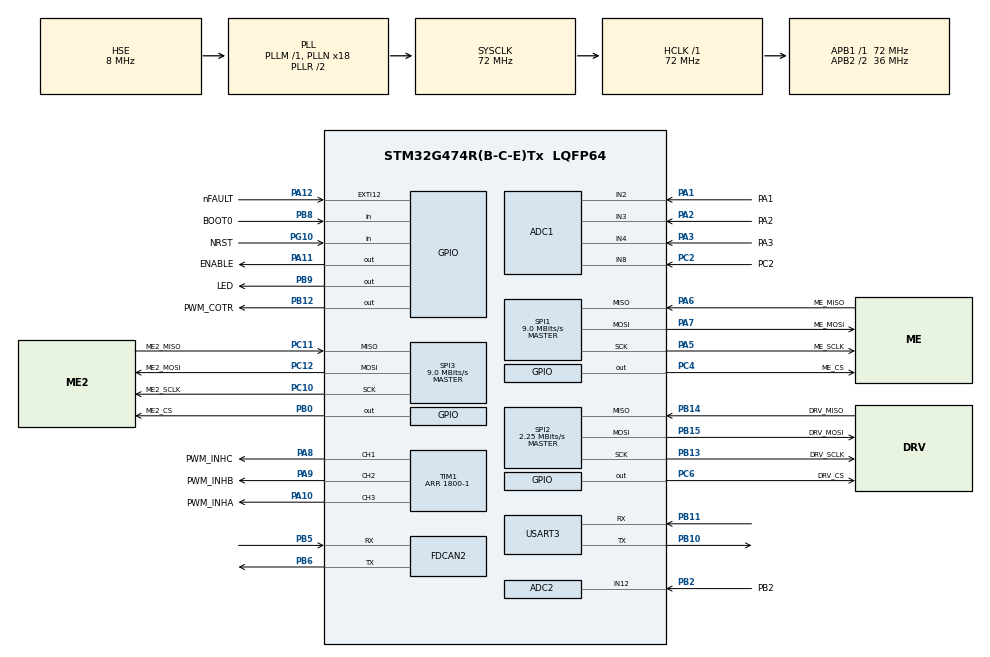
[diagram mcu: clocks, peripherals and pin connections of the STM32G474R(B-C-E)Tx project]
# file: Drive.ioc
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ADC1.Channel-7\#ChannelRegularConversion=ADC_CHANNEL_4
ADC1.Channel-8\#ChannelRegularConversion=ADC_CHANNEL_8
ADC1.ContinuousConvMode=DISABLE
ADC1.DMAContinuousRequests=ENABLE
ADC1.EnableInjectedConversion=ENABLE
ADC1.EnableRegularConversion=ENABLE
ADC1.ExternalTrigConv=ADC_EXTERNALTRIG_T1_TRGO
ADC1.ExternalTrigInjecConv=ADC_EXTERNALTRIGINJEC_T1_CC4
ADC1.InjNumberOfConversion=2
ADC1.InjectedChannel-13\#ChannelInjectedConversion=ADC_CHANNEL_2
ADC1.InjectedChannel-14\#ChannelInjectedConversion=ADC_CHANNEL_3
ADC1.InjectedOffsetNumber-13\#ChannelInjectedConversion=ADC_OFFSET_NONE
ADC1.InjectedOffsetNumber-14\#ChannelInjectedConversion=ADC_OFFSET_NONE
ADC1.InjectedRank-13\#ChannelInjectedConversion=1
ADC1.InjectedRank-14\#ChannelInjectedConversion=2
ADC1.InjectedSamplingTime-13\#ChannelInjectedConversion=ADC_SAMPLETIME_24CYCLES_5
ADC1.InjectedSamplingTime-14\#ChannelInjectedConversion=ADC_SAMPLETIME_24CYCLES_5
ADC1.Mode=ADC_MODE_INDEPENDENT
ADC1.NbrOfConversion=2
ADC1.NbrOfConversionFlag=1
ADC1.OffsetNumber-7\#ChannelRegularConversion=ADC_OFFSET_NONE
ADC1.OffsetNumber-8\#ChannelRegularConversion=ADC_OFFSET_NONE
ADC1.Overrun=ADC_OVR_DATA_OVERWRITTEN
ADC1.OversamplingMode=DISABLE
ADC1.Rank-7\#ChannelRegularConversion=1
ADC1.Rank-8\#ChannelRegularConversion=2
ADC1.Rank1_Channel=ADC_CHANNEL_2
ADC1.Rank2_Channel=ADC_CHANNEL_3
ADC1.SamplingTime-7\#ChannelRegularConversion=ADC_SAMPLETIME_24CYCLES_5
ADC1.SamplingTime-8\#ChannelRegularConversion=ADC_SAMPLETIME_247CYCLES_5
ADC1.master=1
ADC2.Channel-0\#ChannelRegularConversion=ADC_CHANNEL_12
ADC2.DMAContinuousRequests=ENABLE
ADC2.ExternalTrigConv=ADC_EXTERNALTRIG_T1_TRGO
ADC2.ExternalTrigConvEdge=ADC_EXTERNALTRIGCONVEDGE_RISING
ADC2.NbrOfConversion=1
ADC2.NbrOfConversionFlag=1
ADC2.OffsetNumber-0\#ChannelRegularConversion=ADC_OFFSET_NONE
ADC2.Overrun=ADC_OVR_DATA_OVERWRITTEN
ADC2.OversamplingMode=DISABLE
ADC2.Rank-0\#ChannelRegularConversion=1
ADC2.SamplingTime-0\#ChannelRegularConversion=ADC_SAMPLETIME_24CYCLES_5
Dma.ADC1.0.Direction=DMA_PERIPH_TO_MEMORY
Dma.ADC1.0.EventEnable=DISABLE
Dma.ADC1.0.Instance=DMA1_Channel1
Dma.ADC1.0.MemDataAlignment=DMA_MDATAALIGN_HALFWORD
Dma.ADC1.0.MemInc=DMA_MINC_ENABLE
Dma.ADC1.0.Mode=DMA_CIRCULAR
Dma.ADC1.0.PeriphDataAlignment=DMA_PDATAALIGN_HALFWORD
Dma.ADC1.0.PeriphInc=DMA_PINC_DISABLE
Dma.ADC1.0.Polarity=HAL_DMAMUX_REQ_GEN_RISING
Dma.ADC1.0.Priority=DMA_PRIORITY_LOW
Dma.ADC1.0.RequestNumber=1
Dma.ADC1.0.SignalID=NONE
Dma.ADC1.0.SyncEnable=DISABLE
Dma.ADC1.0.SyncPolarity=HAL_DMAMUX_SYNC_NO_EVENT
Dma.ADC1.0.SyncRequestNumber=1
Dma.ADC1.0.SyncSignalID=NONE
Dma.ADC2.1.Direction=DMA_PERIPH_TO_MEMORY
Dma.ADC2.1.EventEnable=DISABLE
Dma.ADC2.1.Instance=DMA1_Channel2
Dma.ADC2.1.MemDataAlignment=DMA_MDATAALIGN_HALFWORD
Dma.ADC2.1.MemInc=DMA_MINC_ENABLE
Dma.ADC2.1.Mode=DMA_CIRCULAR
Dma.ADC2.1.PeriphDataAlignment=DMA_PDATAALIGN_HALFWORD
Dma.ADC2.1.PeriphInc=DMA_PINC_DISABLE
Dma.ADC2.1.Polarity=HAL_DMAMUX_REQ_GEN_RISING
Dma.ADC2.1.Priority=DMA_PRIORITY_LOW
Dma.ADC2.1.RequestNumber=1
Dma.ADC2.1.SignalID=NONE
Dma.ADC2.1.SyncEnable=DISABLE
Dma.ADC2.1.SyncPolarity=HAL_DMAMUX_SYNC_NO_EVENT
Dma.ADC2.1.SyncRequestNumber=1
Dma.ADC2.1.SyncSignalID=NONE
Dma.Request0=ADC1
Dma.Request1=ADC2
Dma.Request2=USART3_TX
Dma.Request3=USART3_RX
Dma.USART3_RX.3.Direction=DMA_PERIPH_TO_MEMORY
Dma.USART3_RX.3.EventEnable=DISABLE
Dma.USART3_RX.3.Instance=DMA1_Channel4
Dma.USART3_RX.3.MemDataAlignment=DMA_MDATAALIGN_BYTE
Dma.USART3_RX.3.MemInc=DMA_MINC_ENABLE
Dma.USART3_RX.3.Mode=DMA_CIRCULAR
Dma.USART3_RX.3.PeriphDataAlignment=DMA_PDATAALIGN_BYTE
Dma.USART3_RX.3.PeriphInc=DMA_PINC_DISABLE
Dma.USART3_RX.3.Polarity=HAL_DMAMUX_REQ_GEN_RISING
Dma.USART3_RX.3.Priority=DMA_PRIORITY_LOW
Dma.USART3_RX.3.RequestNumber=1
Dma.USART3_RX.3.SignalID=NONE
Dma.USART3_RX.3.SyncEnable=DISABLE
Dma.USART3_RX.3.SyncPolarity=HAL_DMAMUX_SYNC_NO_EVENT
Dma.USART3_RX.3.SyncRequestNumber=1
Dma.USART3_RX.3.SyncSignalID=NONE
Dma.USART3_TX.2.Direction=DMA_MEMORY_TO_PERIPH
Dma.USART3_TX.2.EventEnable=DISABLE
Dma.USART3_TX.2.Instance=DMA1_Channel3
Dma.USART3_TX.2.MemDataAlignment=DMA_MDATAALIGN_BYTE
Dma.USART3_TX.2.MemInc=DMA_MINC_ENABLE
Dma.USART3_TX.2.Mode=DMA_NORMAL
Dma.USART3_TX.2.PeriphDataAlignment=DMA_PDATAALIGN_BYTE
Dma.USART3_TX.2.PeriphInc=DMA_PINC_DISABLE
Dma.USART3_TX.2.Polarity=HAL_DMAMUX_REQ_GEN_RISING
Dma.USART3_TX.2.Priority=DMA_PRIORITY_LOW
Dma.USART3_TX.2.RequestNumber=1
Dma.USART3_TX.2.SignalID=NONE
Dma.USART3_TX.2.SyncEnable=DISABLE
Dma.USART3_TX.2.SyncPolarity=HAL_DMAMUX_SYNC_NO_EVENT
Dma.USART3_TX.2.SyncRequestNumber=1
Dma.USART3_TX.2.SyncSignalID=NONE
FDCAN2.CalculateBaudRateNominal=1000000
FDCAN2.CalculateTimeBitNominal=1000
FDCAN2.CalculateTimeQuantumNominal=125.0
FDCAN2.NominalPrescaler=9
FDCAN2.NominalTimeSeg1=5
FDCAN2.NominalTimeSeg2=2
FDCAN2.StdFiltersNbr=1
IWDG.Prescaler=IWDG_PRESCALER_256
IWDG.Reload=125
IWDG.Window=4095
Mcu.Family=STM32G4
Mcu.Name=STM32G474R(B-C-E)Tx
Mcu.Package=LQFP64
NVIC.DMA1_Channel1_IRQn=true\:3\:0\:true\:false\:true\:false\:true\:true
NVIC.DMA1_Channel2_IRQn=true\:3\:0\:true\:false\:true\:false\:true\:true
NVIC.DMA1_Channel3_IRQn=true\:3\:0\:true\:false\:true\:false\:true\:true
NVIC.DMA1_Channel4_IRQn=true\:3\:0\:true\:false\:true\:false\:true\:true
NVIC.EXTI15_10_IRQn=true\:0\:0\:true\:false\:true\:true\:true\:true
NVIC.FDCAN2_IT0_IRQn=true\:3\:0\:true\:false\:true\:true\:true\:true
NVIC.FDCAN2_IT1_IRQn=true\:3\:0\:true\:false\:true\:true\:true\:true
NVIC.PriorityGroup=NVIC_PRIORITYGROUP_4
NVIC.TIM1_UP_TIM16_IRQn=true\:1\:0\:true\:false\:true\:true\:true\:true
NVIC.USART3_IRQn=true\:3\:0\:true\:false\:true\:true\:true\:true
PA1.GPIO_Label=PA1
PA1.Mode=IN2-Single-Ended
PA1.Signal=ADC1_IN2
PA10.GPIO_Label=PWM_INHA
PA10.Signal=S_TIM1_CH3
PA11.GPIO_Label=ENABLE
PA11.Signal=GPIO_Output
PA12.GPIO_Label=nFAULT
PA12.GPIO_ModeDefaultEXTI=GPIO_MODE_IT_FALLING
PA12.Signal=GPXTI12
PA13.Mode=Serial_Wire
PA13.Signal=SYS_JTMS-SWDIO
PA14.Mode=Serial_Wire
PA14.Signal=SYS_JTCK-SWCLK
PA2.GPIO_Label=PA2
PA2.Mode=IN3-Single-Ended
PA2.Signal=ADC1_IN3
PA3.GPIO_Label=PA3
PA3.Mode=IN4-Single-Ended
PA3.Signal=ADC1_IN4
PA5.GPIO_Label=ME_SCLK
PA5.GPIO_Speed=GPIO_SPEED_FREQ_VERY_HIGH
PA5.Mode=Full_Duplex_Master
PA5.Signal=SPI1_SCK
PA6.GPIO_Label=ME_MISO
PA6.GPIO_Speed=GPIO_SPEED_FREQ_VERY_HIGH
PA6.Mode=Full_Duplex_Master
PA6.Signal=SPI1_MISO
PA7.GPIO_Label=ME_MOSI
PA7.GPIO_Speed=GPIO_SPEED_FREQ_VERY_HIGH
PA7.Mode=Full_Duplex_Master
PA7.Signal=SPI1_MOSI
PA8.GPIO_Label=PWM_INHC
PA8.Signal=S_TIM1_CH1
PA9.GPIO_Label=PWM_INHB
PA9.Signal=S_TIM1_CH2
PB0.GPIO_Label=ME2_CS
PB0.GPIO_Speed=GPIO_SPEED_FREQ_VERY_HIGH
PB0.PinState=GPIO_PIN_SET
PB0.Signal=GPIO_Output
PB10.Mode=Asynchronous
PB10.Signal=USART3_TX
PB11.GPIO_PuPd=GPIO_PULLUP
PB11.Mode=Asynchronous
PB11.Signal=USART3_RX
PB12.GPIO_Label=PWM_COTR
PB12.Signal=GPIO_Output
PB13.GPIO_Label=DRV_SCLK
PB13.GPIO_Speed=GPIO_SPEED_FREQ_VERY_HIGH
PB13.Mode=Full_Duplex_Master
PB13.Signal=SPI2_SCK
PB14.GPIO_Label=DRV_MISO
PB14.GPIO_Speed=GPIO_SPEED_FREQ_VERY_HIGH
PB14.Mode=Full_Duplex_Master
PB14.Signal=SPI2_MISO
PB15.GPIO_Label=DRV_MOSI
PB15.GPIO_Speed=GPIO_SPEED_FREQ_VERY_HIGH
PB15.Mode=Full_Duplex_Master
PB15.Signal=SPI2_MOSI
PB2.GPIO_Label=PB2
PB2.Mode=IN12-Single-Ended
PB2.Signal=ADC2_IN12
PB5.GPIO_Speed=GPIO_SPEED_FREQ_HIGH
PB5.Mode=FDCAN_Activate
PB5.Signal=FDCAN2_RX
PB6.GPIO_Speed=GPIO_SPEED_FREQ_HIGH
PB6.Mode=FDCAN_Activate
PB6.Signal=FDCAN2_TX
PB8-BOOT0.GPIO_Label=BOOT0
PB8-BOOT0.Signal=GPIO_Input
PB9.GPIO_Label=LED
PB9.Signal=GPIO_Output
PC10.GPIO_Label=ME2_SCLK
PC10.GPIO_Speed=GPIO_SPEED_FREQ_VERY_HIGH
PC10.Mode=Full_Duplex_Master
PC10.Signal=SPI3_SCK
PC11.GPIO_Label=ME2_MISO
PC11.GPIO_Speed=GPIO_SPEED_FREQ_VERY_HIGH
PC11.Mode=Full_Duplex_Master
PC11.Signal=SPI3_MISO
PC12.GPIO_Label=ME2_MOSI
PC12.GPIO_Speed=GPIO_SPEED_FREQ_VERY_HIGH
PC12.Mode=Full_Duplex_Master
PC12.Signal=SPI3_MOSI
PC2.GPIO_Label=PC2
PC2.Mode=IN8-Single-Ended
PC2.Signal=ADC1_IN8
PC4.GPIO_Label=ME_CS
PC4.GPIO_Speed=GPIO_SPEED_FREQ_VERY_HIGH
PC4.PinState=GPIO_PIN_SET
PC4.Signal=GPIO_Output
PC6.GPIO_Label=DRV_CS
PC6.GPIO_Speed=GPIO_SPEED_FREQ_VERY_HIGH
PC6.PinState=GPIO_PIN_SET
PC6.Signal=GPIO_Output
PF0-OSC_IN.Mode=HSE-External-Oscillator
PF0-OSC_IN.Signal=RCC_OSC_IN
PF1-OSC_OUT.Mode=HSE-External-Oscillator
PF1-OSC_OUT.Signal=RCC_OSC_OUT
PG10-NRST.GPIO_Label=NRST
PG10-NRST.Signal=GPIO_Input
ProjectManager.HeapSize=0x200
ProjectManager.StackSize=0x400
ProjectManager.TargetToolchain=MDK-ARM V5.32
RCC.ADC12Freq_Value=72000000
RCC.ADC345Freq_Value=72000000
RCC.AHBFreq_Value=72000000
RCC.APB1Freq_Value=72000000
RCC.APB1TimFreq_Value=72000000
RCC.APB2CLKDivider=RCC_HCLK_DIV2
RCC.APB2Freq_Value=36000000
RCC.APB2TimFreq_Value=72000000
RCC.CortexFreq_Value=72000000
RCC.EXTERNAL_CLOCK_VALUE=12288000
RCC.HCLKFreq_Value=72000000
RCC.HSE_VALUE=8000000
RCC.HSI48_VALUE=48000000
RCC.HSI_VALUE=16000000
RCC.LSE_VALUE=32768
RCC.PLLN=18
RCC.PLLSourceVirtual=RCC_PLLSOURCE_HSE
RCC.SYSCLKFreq_VALUE=72000000
RCC.SYSCLKSource=RCC_SYSCLKSOURCE_PLLCLK
RCC.USBFreq_Value=72000000
RCC.VCOOutputFreq_Value=144000000
SH.S_TIM1_CH1.0=TIM1_CH1,PWM Generation1 CH1
SH.S_TIM1_CH2.0=TIM1_CH2,PWM Generation2 CH2
SH.S_TIM1_CH3.0=TIM1_CH3,PWM Generation3 CH3
SPI1.BaudRatePrescaler=SPI_BAUDRATEPRESCALER_4
SPI1.CLKPhase=SPI_PHASE_2EDGE
SPI1.CLKPolarity=SPI_POLARITY_HIGH
SPI1.CalculateBaudRate=9.0 MBits/s
SPI1.DataSize=SPI_DATASIZE_16BIT
SPI1.Direction=SPI_DIRECTION_2LINES
SPI1.Mode=SPI_MODE_MASTER
SPI1.VirtualType=VM_MASTER
SPI2.BaudRatePrescaler=SPI_BAUDRATEPRESCALER_32
SPI2.CLKPhase=SPI_PHASE_2EDGE
SPI2.CLKPolarity=SPI_POLARITY_LOW
SPI2.CalculateBaudRate=2.25 MBits/s
SPI2.DataSize=SPI_DATASIZE_16BIT
SPI2.Direction=SPI_DIRECTION_2LINES
SPI2.Mode=SPI_MODE_MASTER
SPI2.VirtualType=VM_MASTER
SPI3.BaudRatePrescaler=SPI_BAUDRATEPRESCALER_8
SPI3.CLKPhase=SPI_PHASE_2EDGE
SPI3.CLKPolarity=SPI_POLARITY_HIGH
SPI3.CalculateBaudRate=9.0 MBits/s
SPI3.DataSize=SPI_DATASIZE_16BIT
SPI3.Direction=SPI_DIRECTION_2LINES
SPI3.Mode=SPI_MODE_MASTER
SPI3.VirtualType=VM_MASTER
STMicroelectronics.X-CUBE-ALGOBUILD.1.4.0.LibraryCcDSPOoLibraryJjDSPOoLibrary=true
TIM1.Channel-PWM\ Generation1\ CH1=TIM_CHANNEL_1
TIM1.Channel-PWM\ Generation2\ CH2=TIM_CHANNEL_2
TIM1.Channel-PWM\ Generation3\ CH3=TIM_CHANNEL_3
TIM1.Channel-PWM\ Generation4\ No\ Output=TIM_CHANNEL_4
TIM1.CounterMode=TIM_COUNTERMODE_CENTERALIGNED1
TIM1.PeriodNoDither=1800-1
TIM1.PulseNoDither_1=900
TIM1.PulseNoDither_2=900
TIM1.PulseNoDither_3=900
TIM1.PulseNoDither_4=288
TIM1.RepetitionCounter=1
TIM1.TIM_MasterOutputTrigger=TIM_TRGO_UPDATE
USART3.VirtualMode-Asynchronous=VM_ASYNC
VP_IWDG_VS_IWDG.Mode=IWDG_Activate
VP_STMicroelectronics.X-CUBE-ALGOBUILD_VS_DSPOoLibraryJjLibrary_1.4.0_1.4.0.Mode=DSPOoLibraryJjLibrary
VP_SYS_VS_DBSignals.Mode=DisableDeadBatterySignals
VP_TIM1_VS_ClockSourceINT.Mode=Internal
VP_TIM1_VS_no_output4.Mode=PWM Generation4 No Output
board=custom

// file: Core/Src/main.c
/* USER CODE BEGIN Header */
/**
  ******************************************************************************
  * @file           : main.c
  * @brief          : Main program body
  ******************************************************************************
  * @attention
  *
  * Copyright (c) 2026 STMicroelectronics.
  * All rights reserved.
  *
  * This software is licensed under terms that can be found in the LICENSE file
  * in the root directory of this software component.
  * If no LICENSE file comes with this software, it is provided AS-IS.
  *
  ******************************************************************************
  */
/* USER CODE END Header */
#include "main.h"
#include "adc.h"
#include "dma.h"
#include "fdcan.h"
#include "iwdg.h"
#include "spi.h"
#include "tim.h"
#include "usart.h"
#include "gpio.h"

/* USER CODE BEGIN Includes */
#include "motor_control.h"
#include "foc.h"
#include "drv8353.h"
#include "fdcan_app.h"
#include "uart_cmd.h"
#include "dwt_delay.h"
#include "kth7823.h"
#include "kth7823_2.h"
#include "dbg_monitor.h"
#include "protect.h"

/* USER CODE END Includes */

/* USER CODE BEGIN PD */

volatile uint8_t fault_triggered = 0;							// 驱动故障标志
volatile uint8_t  fault_status_valid = 0;					// 1=上面STATUS1/2是本次 nFAULT 读到的；0=本次没读到，值不可信
volatile uint8_t  fault_code = FAULT_CODE_NONE;		// 故障期间保持，离开 FAULT 态时由 FOC_SetMode 清零
volatile uint16_t fault_mask = 0;									// 本次故障事件内触发过的所有保护位（bit=FAULT_CODE_n），与 fault_code 同步清零
volatile uint16_t fault_status1 = 0;							// 硬件故障 STATUS1 锁存（Disable 前读取）
volatile uint16_t fault_status2 = 0;							// 硬件故障 STATUS2 锁存

/* USER CODE END PD */

void SystemClock_Config(void);
/* USER CODE BEGIN PFP */

// 驱动故障回调函数
void HAL_GPIO_EXTI_Callback(uint16_t GPIO_Pin)
{
    if (GPIO_Pin != GPIO_PIN_12) return;  // 处理 DRV8353 nFault 引脚

    fault_code = FAULT_CODE_HARDWARE;
		Protect_StopPWM();

    if(hspi2.State == HAL_SPI_STATE_READY) {
			// 先锁存硬件故障详情（此时 EN 尚未拉低、SPI 可用，读到的才是真实故障位）
			fault_status1 = DRV8353_ReadReg(DRV8353_REG_STATUS1);
			fault_status2 = DRV8353_ReadReg(DRV8353_REG_STATUS2);
			fault_status_valid = 1;
		} else {
      fault_status_valid = 0;
    }

    DRV8353_Disable();
    fault_triggered = 1;
}

/* USER CODE END PFP */

int main(void)
{

  /* MCU Configuration--------------------------------------------------------*/

  /* Reset of all peripherals, Initializes the Flash interface and the Systick. */
  HAL_Init();

  /* Configure the system clock */
  SystemClock_Config();

  /* USER CODE BEGIN SysInit */
  DWT_Init();   // 使能内核 DWT Cycle 计数器

  /* USER CODE END SysInit */

  /* Initialize all configured peripherals */
  MX_GPIO_Init();
  MX_DMA_Init();
  MX_TIM1_Init();
  MX_ADC1_Init();
  MX_FDCAN2_Init();
  MX_SPI1_Init();
  MX_SPI2_Init();
  MX_SPI3_Init();
  MX_USART3_UART_Init();
  MX_ADC2_Init();
  MX_IWDG_Init();
  /* USER CODE BEGIN 2 */

	FDCAN_App_Init();
	UART_Cmd_Init();
	MotorControl_Init();
	MotorControl_BootSequence();   // 上电自动执行启动序列

  /* USER CODE END 2 */

  /* Infinite loop */
  /* USER CODE BEGIN WHILE */
	FOC_SetOpenLoopVoltage(0.0f);  // 开环初始电压 0V（速度默认 0，上电不转）

  while (1)
  {

    /* USER CODE END WHILE */

    /* USER CODE BEGIN 3 */

		// 故障恢复
		FOC_FaultRecoverProcess();

		// 调试监控快照：集中刷新关键运行变量到 dbg，供 KEIL Watch 观察
//		DBG_Monitor_Update();

		// 温度更新
		TempSense_Update();

		// 处理 CAN 消息（多节点：只处理发给本节点 NODE_ID 的帧，过滤器已按 ID 区分）
    FDCAN_App_Process();

		// can工作时屏蔽串口
		if (!Protect_CommIsArmed()){

			// 硬件配置自检结果串口上报
			UART_ReportAlignResult();

			// log=1实时状态串口上报
			UART_SendStatus();

			// 故障信息串口上报
			UART_FaultReport();

			// 处理串口命令
			UART_Cmd_Process();

			// 自动停止：v= 设为非0 后 3 秒自动把电压归零（测试保护，防忘记停机过热）
			UART_Cmd_AutoStop();

		}else {
			UART_Cmd_Discard();      // 丢弃屏蔽期间累积的串口输入，防解除后执行陈旧命令
		}

		// 非阻塞发送兜底：发送链路异常（HAL 启动失败/出错）时恢复，正常无开销
		UART_Tx_Poll();

		// 编码器刷新，主循环做滤波角度（sin/cos + atan2，约 7µs，按 1kHz 跑）
		kth7823_SlowUpdate();
		kth7823_2_SlowUpdate();   // 输出轴编码器单圈滤波角度
		DWT_DelayMs(1);          // 定 1ms 节拍

		// 喂独立看门狗：主循环 1ms 周期喂狗，远小于 1s 超时
		HAL_IWDG_Refresh(&hiwdg);

	}

  /* USER CODE END 3 */
}

void SystemClock_Config(void)
{
  RCC_OscInitTypeDef RCC_OscInitStruct = {0};
  RCC_ClkInitTypeDef RCC_ClkInitStruct = {0};

  /** Configure the main internal regulator output voltage
  */
  HAL_PWREx_ControlVoltageScaling(PWR_REGULATOR_VOLTAGE_SCALE1);

  /** Initializes the RCC Oscillators according to the specified parameters
  * in the RCC_OscInitTypeDef structure.
  */
  RCC_OscInitStruct.OscillatorType = RCC_OSCILLATORTYPE_LSI|RCC_OSCILLATORTYPE_HSE;
  RCC_OscInitStruct.HSEState = RCC_HSE_ON;
  RCC_OscInitStruct.LSIState = RCC_LSI_ON;
  RCC_OscInitStruct.PLL.PLLState = RCC_PLL_ON;
  RCC_OscInitStruct.PLL.PLLSource = RCC_PLLSOURCE_HSE;
  RCC_OscInitStruct.PLL.PLLM = RCC_PLLM_DIV1;
  RCC_OscInitStruct.PLL.PLLN = 18;
  RCC_OscInitStruct.PLL.PLLP = RCC_PLLP_DIV2;
  RCC_OscInitStruct.PLL.PLLQ = RCC_PLLQ_DIV2;
  RCC_OscInitStruct.PLL.PLLR = RCC_PLLR_DIV2;
  if (HAL_RCC_OscConfig(&RCC_OscInitStruct) != HAL_OK)
  {
    Error_Handler();
  }

  /** Initializes the CPU, AHB and APB buses clocks
  */
  RCC_ClkInitStruct.ClockType = RCC_CLOCKTYPE_HCLK|RCC_CLOCKTYPE_SYSCLK
                              |RCC_CLOCKTYPE_PCLK1|RCC_CLOCKTYPE_PCLK2;
  RCC_ClkInitStruct.SYSCLKSource = RCC_SYSCLKSOURCE_PLLCLK;
  RCC_ClkInitStruct.AHBCLKDivider = RCC_SYSCLK_DIV1;
  RCC_ClkInitStruct.APB1CLKDivider = RCC_HCLK_DIV1;
  RCC_ClkInitStruct.APB2CLKDivider = RCC_HCLK_DIV2;

  if (HAL_RCC_ClockConfig(&RCC_ClkInitStruct, FLASH_LATENCY_2) != HAL_OK)
  {
    Error_Handler();
  }
}

void Error_Handler(void)
{
  __disable_irq();
  while (1)
  {
  }
}
